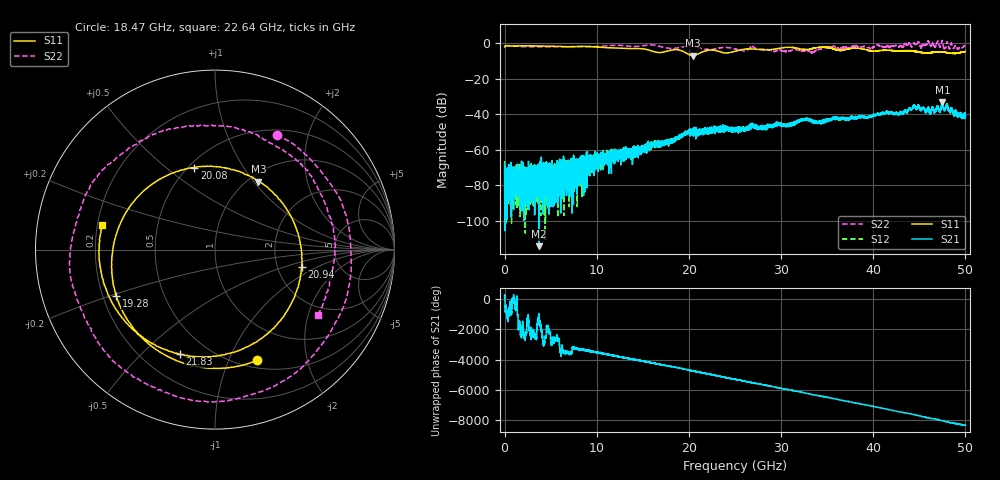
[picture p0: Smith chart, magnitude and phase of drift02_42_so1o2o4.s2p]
!Created with skrf (http://scikit-rf.org).
# Hz S RI R 50.0
!freq ReS11 ImS11 ReS21 ImS21 ReS12 ImS12 ReS22 ImS22
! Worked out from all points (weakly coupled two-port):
!   10001 points, 300 kHz to 50 GHz, reference 50 ohm
!   highest |S21| = -33.38 dB at 47.5 GHz (marker M1); lowest = -114.4 dB at 3.74 GHz (marker M2)
!   lowest |S11| = -6.9 dB at 20.41 GHz (marker M3), VSWR 2.64, Z = 55.5 + j52.8 ohm
!   |S11| at or under -10 dB: nowhere
!   |S22| runs from -5.4 to 1.6 dB; largest |S21 - S12| = 0.0043
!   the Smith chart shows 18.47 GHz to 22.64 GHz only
!   S11 on the Smith chart (normalised r, x): 18.47 GHz: 0.58, -1.27; 19.28 GHz: 0.26, -0.21; 20.08 GHz: 0.54, +0.63; 20.94 GHz: 2.73, -0.71; 21.83 GHz: 0.35, -0.66; 22.64 GHz: 0.22, +0.10
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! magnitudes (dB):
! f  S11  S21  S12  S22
! 300 kHz  -2.1  -68.2  -66.4  -1.3
! 255.3 MHz  -1.4  -99.4  -81.0  -1.4
! 2.475 GHz  -1.3  -86.6  -75.9  -1.9
! 3.74 GHz  -1.5  -114.4  -82.1  -1.9
! 5.435 GHz  -1.6  -70.4  -78.8  -2.0
! 8.335 GHz  -1.7  -68.3  -68.6  -1.9
! 16.67 GHz  -5.2  -56.9  -57.3  -1.5
! 18.47 GHz  -3.6  -54.5  -54.1  -2.8
! 19.28 GHz  -4.3  -51.2  -51.8  -2.1
! 20.08 GHz  -6.5  -50.8  -49.2  -1.5
! 20.41 GHz  -6.9  -50.0  -50.6  -1.8
! 20.94 GHz  -6.1  -49.5  -49.3  -2.2
! 21.83 GHz  -4.2  -48.4  -49.6  -3.5
! 22.64 GHz  -3.8  -48.4  -49.5  -3.3
! 25 GHz  -4.5  -49.2  -50.1  -3.2
! 26.11 GHz  -3.3  -48.8  -48.0  -4.3
! 26.9 GHz  -3.2  -46.5  -46.0  -1.7
! 33.34 GHz  -3.0  -44.1  -43.8  -5.0
! 34.89 GHz  -2.2  -43.3  -43.7  -2.3
! 41.67 GHz  -4.0  -39.8  -39.4  -2.0
! 47.5 GHz  -4.9  -33.4  -33.9  1.2
! 50 GHz  -4.6  -42.1  -40.6  -1.5
